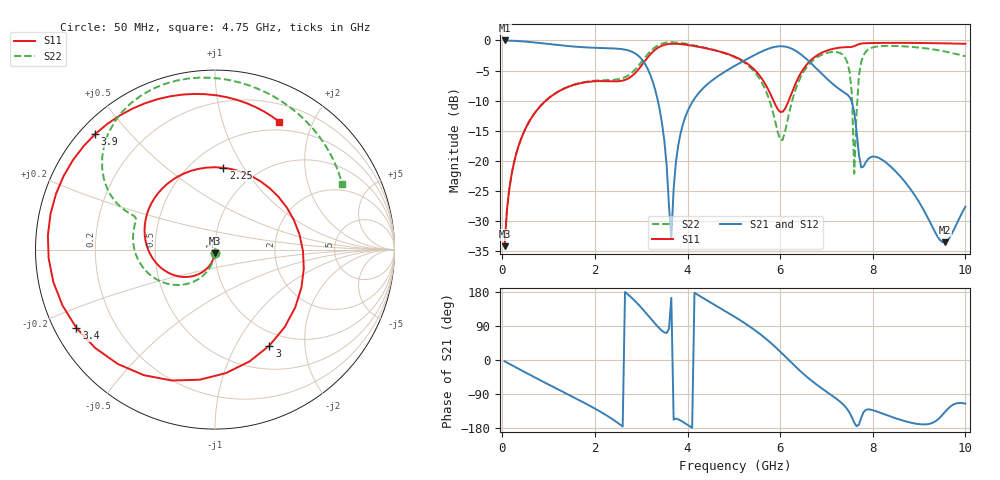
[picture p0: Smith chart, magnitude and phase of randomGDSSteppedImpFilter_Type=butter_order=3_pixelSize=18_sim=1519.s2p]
! freq	dB(S11)	phase(S11)	dB(S12)	phase(S12)
!  dB(S21)	phase(S21)	dB(S22)	phase(S22)
!S-par simulation data
#  GHz  S  DB  R 50
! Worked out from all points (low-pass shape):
!   200 points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, 50 MHz to 10 GHz, reference 50 ohm
!   highest |S21| = -0.01 dB at 50 MHz (marker M1); lowest = -33.6 dB at 9.55 GHz (marker M2)
!   |S21| within 3 dB of the highest: start of sweep to 2.996 GHz; 5.305 GHz to 6.556 GHz (1.251 GHz wide, 21.1 % of centre)
!   lowest |S11| = -34.2 dB at 50 MHz (marker M3), VSWR 1.04, Z = 49.8 - j1.94 ohm
!   |S11| at or under -10 dB: start of sweep to 942.1 MHz; 5.855 GHz to 6.184 GHz (328.9 MHz wide, 5.46 % of centre)
!   |S22| runs from -34.2 to -0.3 dB; largest |S21 - S12| = 0
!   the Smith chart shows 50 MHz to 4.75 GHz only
!   S11 on the Smith chart (normalised r, x): 50 MHz: 1.00, -0.04; 2.25 GHz: 0.71, +0.82; 3 GHz: 0.81, -1.39; 3.4 GHz: 0.06, -0.26; 3.9 GHz: 0.04, +0.40; 4.75 GHz: 0.40, +1.55
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0.05  -34.18 -93.6  -0.01 -3.4  -0.01 -3.4  -34.17 -92.7
0.5  -14.67 -128.1  -0.20 -33.0  -0.20 -33.0  -14.65 -118.8
1.75  -7.01 135.5  -1.13 -111.8  -1.13 -111.8  -6.95 179.9
2.25  -6.77 84.2  -1.29 -146.1  -1.29 -146.1  -6.60 162.9
3  -4.23 -60.4  -3.04 138.3  -3.04 138.3  -3.64 152.3
3.4  -1.04 -150.5  -11.55 82.7  -11.55 82.7  -0.67 124.0
3.65  -0.56 167.7  -32.86 164.1  -32.86 164.1  -0.30 102.9
3.9  -0.66 136.1  -13.95 -163.4  -13.95 -163.4  -0.48 84.2
4.75  -1.97 63.2  -5.47 133.7  -5.47 133.7  -1.98 27.1
5.05  -2.81 42.4  -4.09 111.6  -4.09 111.6  -2.90 4.8
5.6  -6.30 9.1  -1.85 65.2  -1.85 65.2  -6.93 -49.4
6.05  -11.88 30.0  -0.98 16.3  -0.98 16.3  -16.56 177.0
6.7  -3.03 29.5  -4.04 -56.7  -4.04 -56.7  -3.38 29.8
7.1  -1.48 5.8  -6.99 -92.2  -6.99 -92.2  -1.94 -14.2
7.45  -1.11 -11.0  -9.00 -129.9  -9.00 -129.9  -3.63 -63.7
7.55  -1.07 -14.3  -10.24 -151.5  -10.24 -151.5  -8.95 -92.1
7.6  -0.96 -15.7  -11.97 -165.2  -11.97 -165.2  -22.14 -95.9
7.75  -0.53 -22.4  -21.11 -152.7  -21.11 -152.7  -3.59 -1.4
8.35  -0.41 -46.1  -20.70 -147.7  -20.70 -147.7  -0.91 -73.2
8.95  -0.42 -65.1  -26.23 -168.5  -26.23 -168.5  -1.15 -117.8
9.55  -0.49 -82.0  -33.56 -138.3  -33.56 -138.3  -1.83 -171.5
10  -0.56 -93.8  -27.62 -115.3  -27.62 -115.3  -2.63 130.7
